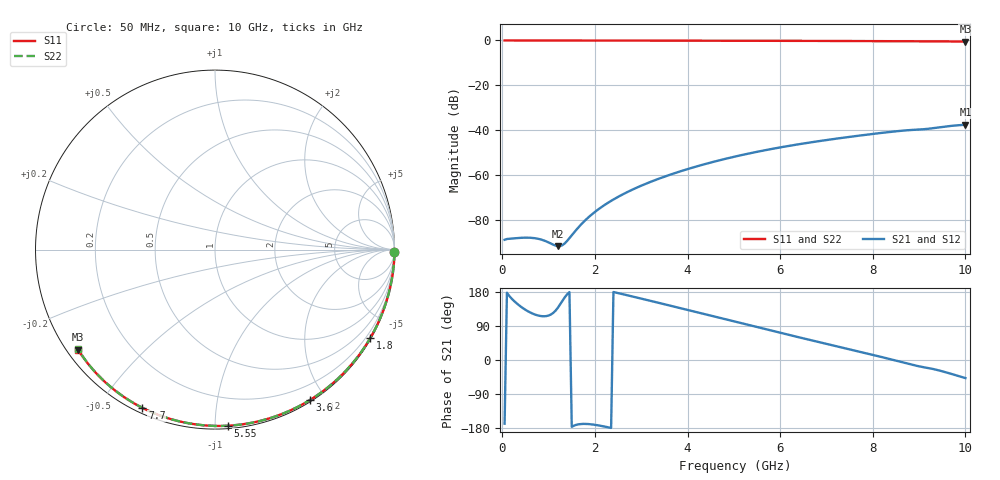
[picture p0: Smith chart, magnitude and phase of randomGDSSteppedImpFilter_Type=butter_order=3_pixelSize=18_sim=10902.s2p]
! freq	dB(S11)	phase(S11)	dB(S12)	phase(S12)
!  dB(S21)	phase(S21)	dB(S22)	phase(S22)
!S-par simulation data
#  GHz  S  DB  R 50
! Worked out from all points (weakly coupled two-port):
!   200 points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, 50 MHz to 10 GHz, reference 50 ohm
!   highest |S21| = -37.62 dB at 10 GHz (marker M1); lowest = -91.8 dB at 1.2 GHz (marker M2)
!   lowest |S11| = -0.5 dB at 10 GHz (marker M3), VSWR 35.65, Z = 1.55 - j16.3 ohm
!   |S11| at or under -10 dB: nowhere
!   |S22| runs from -0.5 to 0.0 dB; largest |S21 - S12| = 0
!   S11 on the Smith chart (normalised r, x): 50 MHz: open; 1.8 GHz: 0.03, -3.79; 3.6 GHz: 0.02, -1.82; 5.55 GHz: 0.02, -1.07; 7.7 GHz: 0.02, -0.64; 10 GHz: 0.03, -0.33
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0.05  -0.00 -0.8  -88.95 -168.0  -88.95 -168.0  -0.00 -0.8
0.6  -0.01 -10.0  -88.04 125.6  -88.04 125.6  -0.01 -9.8
1.2  -0.02 -19.8  -91.80 137.9  -91.80 137.9  -0.02 -19.5
1.75  -0.04 -28.8  -81.09 -168.6  -81.09 -168.6  -0.04 -28.3
1.8  -0.04 -29.6  -80.07 -168.6  -80.07 -168.6  -0.04 -29.1
1.95  -0.04 -32.0  -77.34 -170.2  -77.34 -170.2  -0.04 -31.4
2.1  -0.04 -34.4  -74.97 -173.1  -74.97 -173.1  -0.04 -33.8
2.45  -0.05 -39.9  -70.37 178.0  -70.37 178.0  -0.05 -39.3
2.9  -0.06 -46.9  -65.71 165.0  -65.71 165.0  -0.06 -46.2
3.4  -0.07 -54.6  -61.54 150.2  -61.54 150.2  -0.07 -53.8
3.6  -0.08 -57.7  -60.07 144.2  -60.07 144.2  -0.08 -56.7
4.3  -0.10 -68.1  -55.60 123.2  -55.60 123.2  -0.09 -67.0
5.05  -0.12 -78.9  -51.69 100.6  -51.69 100.6  -0.12 -77.7
5.55  -0.14 -85.9  -49.48 85.5  -49.48 85.5  -0.14 -84.6
6.1  -0.17 -93.5  -47.36 69.0  -47.36 69.0  -0.16 -92.1
6.7  -0.20 -101.5  -45.35 51.3  -45.35 51.3  -0.19 -100.1
7.7  -0.26 -114.6  -42.49 22.3  -42.49 22.3  -0.26 -113.1
8.35  -0.32 -122.9  -40.88 3.0  -40.88 3.0  -0.31 -121.4
9.15  -0.39 -133.1  -39.51 -20.2  -39.51 -20.2  -0.38 -131.7
9.35  -0.41 -135.6  -38.98 -25.1  -38.98 -25.1  -0.41 -134.4
9.75  -0.46 -140.7  -38.01 -38.6  -38.01 -38.6  -0.46 -140.0
10  -0.49 -143.9  -37.62 -47.7  -37.62 -47.7  -0.53 -144.1
